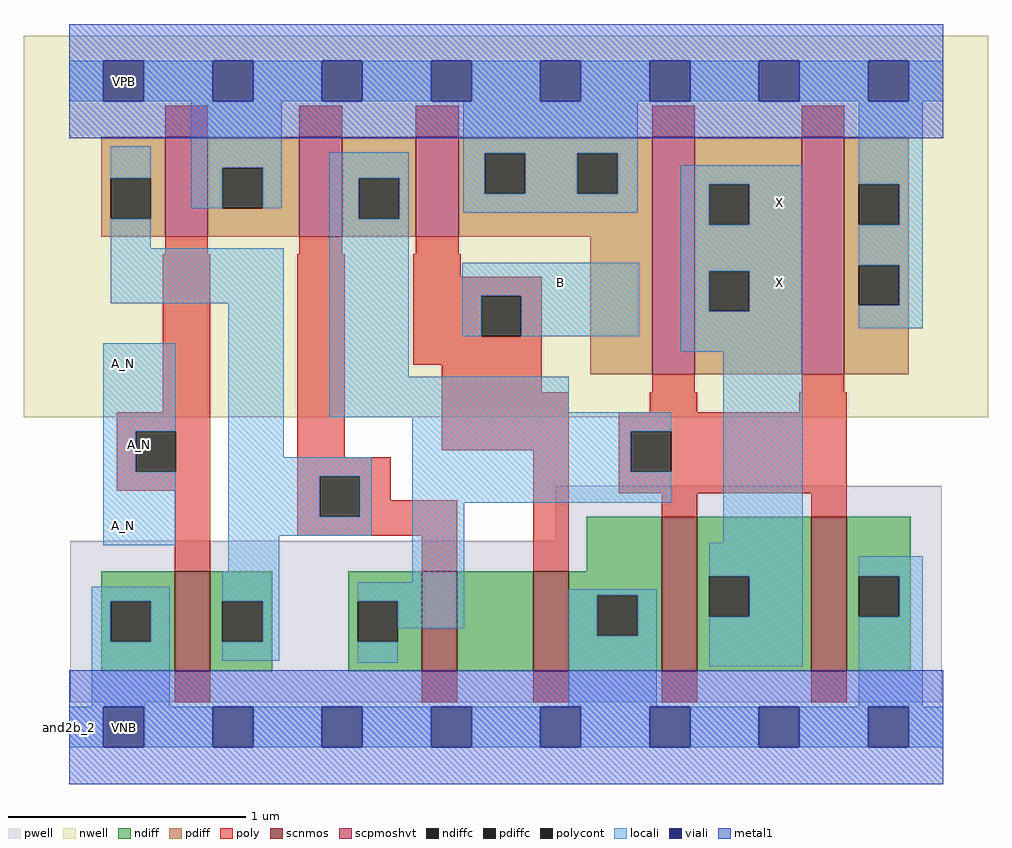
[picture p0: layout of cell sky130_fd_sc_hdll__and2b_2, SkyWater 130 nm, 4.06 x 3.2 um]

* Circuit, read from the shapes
.subckt sky130_fd_sc_hdll__and2b_2 A_N B VGND VNB VPB VPWR X
XM1 n1 A_N VGND VNB sky130_fd_pr__nfet_01v8 w=0.42 l=0.15
XM2 n2 n1 n3 VNB sky130_fd_pr__nfet_01v8 w=0.42 l=0.15
XM3 VGND B n2 VNB sky130_fd_pr__nfet_01v8 w=0.42 l=0.15
XM4 X n3 VGND VNB sky130_fd_pr__nfet_01v8 w=0.65 l=0.15 m=2
XM5 VPWR A_N n1 VPB sky130_fd_pr__pfet_01v8_hvt w=0.42 l=0.18
XM6 n3 n1 VPWR VPB sky130_fd_pr__pfet_01v8_hvt w=0.42 l=0.18
XM7 VPWR B n3 VPB sky130_fd_pr__pfet_01v8_hvt w=0.42 l=0.18
XM8 X n3 VPWR VPB sky130_fd_pr__pfet_01v8_hvt w=1 l=0.18 m=2
.ends

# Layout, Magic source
magic
tech sky130A
magscale 1 2
<< nwell >>
rect -38 261 774 582
<< pwell >>
rect 410 157 735 203
rect 1 21 735 157
rect 30 -17 64 21
<< scnmos >>
rect 89 47 119 131
rect 297 47 327 131
rect 391 47 421 131
rect 499 47 529 177
rect 625 47 655 177
<< scpmoshvt >>
rect 81 413 117 497
rect 194 413 230 497
rect 292 413 328 497
rect 491 297 527 497
rect 617 297 653 497
<< ndiff >>
rect 436 131 499 177
rect 27 106 89 131
rect 27 72 35 106
rect 69 72 89 106
rect 27 47 89 72
rect 119 106 171 131
rect 119 72 129 106
rect 163 72 171 106
rect 119 47 171 72
rect 235 106 297 131
rect 235 72 243 106
rect 277 72 297 106
rect 235 47 297 72
rect 327 47 391 131
rect 421 111 499 131
rect 421 77 445 111
rect 479 77 499 111
rect 421 47 499 77
rect 529 127 625 177
rect 529 93 539 127
rect 573 93 625 127
rect 529 47 625 93
rect 655 127 709 177
rect 655 93 665 127
rect 699 93 709 127
rect 655 47 709 93
<< pdiff >>
rect 27 462 81 497
rect 27 428 35 462
rect 69 428 81 462
rect 27 413 81 428
rect 117 471 194 497
rect 117 437 129 471
rect 163 437 194 471
rect 117 413 194 437
rect 230 462 292 497
rect 230 428 244 462
rect 278 428 292 462
rect 230 413 292 428
rect 328 483 491 497
rect 328 449 350 483
rect 384 449 428 483
rect 462 449 491 483
rect 328 413 491 449
rect 439 297 491 413
rect 527 457 617 497
rect 527 423 539 457
rect 573 423 617 457
rect 527 384 617 423
rect 527 350 539 384
rect 573 350 617 384
rect 527 297 617 350
rect 653 457 707 497
rect 653 423 665 457
rect 699 423 707 457
rect 653 389 707 423
rect 653 355 665 389
rect 699 355 707 389
rect 653 297 707 355
<< ndiffc >>
rect 35 72 69 106
rect 129 72 163 106
rect 243 72 277 106
rect 445 77 479 111
rect 539 93 573 127
rect 665 93 699 127
<< pdiffc >>
rect 35 428 69 462
rect 129 437 163 471
rect 244 428 278 462
rect 350 449 384 483
rect 428 449 462 483
rect 539 423 573 457
rect 539 350 573 384
rect 665 423 699 457
rect 665 355 699 389
<< poly >>
rect 81 497 117 523
rect 194 497 230 523
rect 292 497 328 523
rect 491 497 527 523
rect 617 497 653 523
rect 81 398 117 413
rect 194 398 230 413
rect 292 398 328 413
rect 79 265 119 398
rect 40 249 119 265
rect 40 215 56 249
rect 90 215 119 249
rect 40 199 119 215
rect 89 131 119 199
rect 192 227 232 398
rect 290 379 330 398
rect 290 363 398 379
rect 290 329 347 363
rect 381 329 398 363
rect 290 305 398 329
rect 314 282 398 305
rect 491 282 527 297
rect 617 282 653 297
rect 314 233 421 282
rect 489 265 529 282
rect 615 265 655 282
rect 192 211 271 227
rect 192 177 211 211
rect 245 191 271 211
rect 245 177 327 191
rect 192 161 327 177
rect 297 131 327 161
rect 391 131 421 233
rect 463 249 655 265
rect 463 215 473 249
rect 507 215 655 249
rect 463 197 655 215
rect 499 177 529 197
rect 625 177 655 197
rect 89 21 119 47
rect 297 21 327 47
rect 391 21 421 47
rect 499 21 529 47
rect 625 21 655 47
<< polycont >>
rect 56 215 90 249
rect 347 329 381 363
rect 211 177 245 211
rect 473 215 507 249
<< locali >>
rect 0 527 29 561
rect 63 527 121 561
rect 155 527 213 561
rect 247 527 305 561
rect 339 527 397 561
rect 431 527 489 561
rect 523 527 581 561
rect 615 527 673 561
rect 707 527 736 561
rect 35 462 69 489
rect 103 471 179 527
rect 103 437 129 471
rect 163 437 179 471
rect 219 462 286 484
rect 35 403 69 428
rect 219 428 244 462
rect 278 428 286 462
rect 332 483 479 527
rect 332 449 350 483
rect 384 449 428 483
rect 462 449 479 483
rect 332 433 479 449
rect 515 457 618 473
rect 35 357 181 403
rect 29 249 90 323
rect 29 215 56 249
rect 29 153 90 215
rect 134 227 181 357
rect 219 295 286 428
rect 515 423 539 457
rect 573 423 618 457
rect 331 363 480 391
rect 331 329 347 363
rect 381 329 480 363
rect 515 384 618 423
rect 515 350 539 384
rect 573 350 618 384
rect 515 316 618 350
rect 665 457 719 527
rect 699 423 719 457
rect 665 389 719 423
rect 699 355 719 389
rect 665 336 719 355
rect 219 265 421 295
rect 219 261 507 265
rect 289 249 507 261
rect 134 211 255 227
rect 134 177 211 211
rect 245 177 255 211
rect 134 161 255 177
rect 289 215 473 249
rect 289 189 507 215
rect 134 131 177 161
rect 19 106 85 118
rect 19 72 35 106
rect 69 72 85 106
rect 19 17 85 72
rect 129 106 177 131
rect 289 122 333 189
rect 551 155 618 316
rect 163 72 177 106
rect 129 56 177 72
rect 243 106 333 122
rect 539 127 618 155
rect 277 83 333 106
rect 421 111 495 116
rect 243 54 277 72
rect 421 77 445 111
rect 479 77 495 111
rect 421 17 495 77
rect 573 93 618 127
rect 539 51 618 93
rect 665 127 719 144
rect 699 93 719 127
rect 665 17 719 93
rect 0 -17 29 17
rect 63 -17 121 17
rect 155 -17 213 17
rect 247 -17 305 17
rect 339 -17 397 17
rect 431 -17 489 17
rect 523 -17 581 17
rect 615 -17 673 17
rect 707 -17 736 17
<< viali >>
rect 29 527 63 561
rect 121 527 155 561
rect 213 527 247 561
rect 305 527 339 561
rect 397 527 431 561
rect 489 527 523 561
rect 581 527 615 561
rect 673 527 707 561
rect 29 -17 63 17
rect 121 -17 155 17
rect 213 -17 247 17
rect 305 -17 339 17
rect 397 -17 431 17
rect 489 -17 523 17
rect 581 -17 615 17
rect 673 -17 707 17
<< metal1 >>
rect 0 561 736 592
rect 0 527 29 561
rect 63 527 121 561
rect 155 527 213 561
rect 247 527 305 561
rect 339 527 397 561
rect 431 527 489 561
rect 523 527 581 561
rect 615 527 673 561
rect 707 527 736 561
rect 0 496 736 527
rect 0 17 736 48
rect 0 -17 29 17
rect 63 -17 121 17
rect 155 -17 213 17
rect 247 -17 305 17
rect 339 -17 397 17
rect 431 -17 489 17
rect 523 -17 581 17
rect 615 -17 673 17
rect 707 -17 736 17
rect 0 -48 736 -17
<< labels >>
flabel pwell s 30 -17 64 17 0 FreeSans 200 0 0 0 VNB
port 4 nsew ground bidirectional
flabel nwell s 30 527 64 561 0 FreeSans 200 0 0 0 VPB
port 5 nsew power bidirectional
flabel metal1 s 30 527 64 561 0 FreeSans 200 0 0 0 VPWR
port 6 nsew power bidirectional
flabel metal1 s 30 -17 64 17 0 FreeSans 200 0 0 0 VGND
port 3 nsew ground bidirectional
flabel locali s 581 425 615 459 0 FreeSans 200 0 0 0 X
port 7 nsew signal output
flabel locali s 397 357 431 391 0 FreeSans 400 0 0 0 B
port 2 nsew signal input
flabel locali s 29 153 90 323 0 FreeSans 400 0 0 0 A_N
port 1 nsew signal input
flabel locali s 46 170 46 170 0 FreeSans 400 0 0 0 A_N
port 1 nsew
flabel locali s 29 289 63 323 0 FreeSans 400 0 0 0 A_N
port 1 nsew
flabel locali s 581 357 615 391 0 FreeSans 200 0 0 0 X
port 7 nsew signal output
rlabel comment s 0 0 0 0 4 and2b_2
<< properties >>
string LEFsite unithd
string LEFclass CORE
string FIXED_BBOX 0 0 736 544
string GDS_FILE $PDKPATH/libs.ref/sky130_fd_sc_hdll/gds/sky130_fd_sc_hdll.gds
string LEFsymmetry X Y R90
string GDS_END 1780836
string GDS_START 1774972
string LEFproperties maskLayoutSubType "abstract" prCellType "standard" originalViewName "layout"
<< end >>
